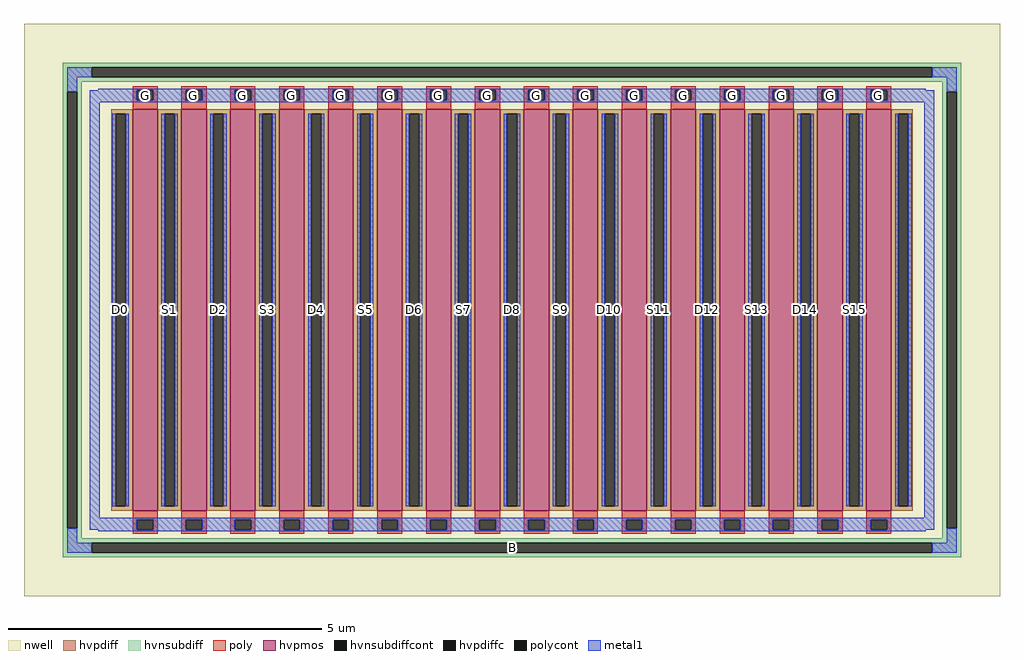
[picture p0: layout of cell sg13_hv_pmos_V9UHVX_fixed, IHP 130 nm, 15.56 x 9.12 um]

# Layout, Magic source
magic
tech ihp-sg13cmos5l
magscale 1 2
<< nwell >>
rect -1556 -912 1556 912
<< hvpmos >>
rect -1210 -640 -1130 640
rect -1054 -640 -974 640
rect -898 -640 -818 640
rect -742 -640 -662 640
rect -586 -640 -506 640
rect -430 -640 -350 640
rect -274 -640 -194 640
rect -118 -640 -38 640
rect 38 -640 118 640
rect 194 -640 274 640
rect 350 -640 430 640
rect 506 -640 586 640
rect 662 -640 742 640
rect 818 -640 898 640
rect 974 -640 1054 640
rect 1130 -640 1210 640
<< hvpdiff >>
rect -1278 626 -1210 640
rect -1278 -626 -1264 626
rect -1232 -626 -1210 626
rect -1278 -640 -1210 -626
rect -1130 626 -1054 640
rect -1130 -626 -1108 626
rect -1076 -626 -1054 626
rect -1130 -640 -1054 -626
rect -974 626 -898 640
rect -974 -626 -952 626
rect -920 -626 -898 626
rect -974 -640 -898 -626
rect -818 626 -742 640
rect -818 -626 -796 626
rect -764 -626 -742 626
rect -818 -640 -742 -626
rect -662 626 -586 640
rect -662 -626 -640 626
rect -608 -626 -586 626
rect -662 -640 -586 -626
rect -506 626 -430 640
rect -506 -626 -484 626
rect -452 -626 -430 626
rect -506 -640 -430 -626
rect -350 626 -274 640
rect -350 -626 -328 626
rect -296 -626 -274 626
rect -350 -640 -274 -626
rect -194 626 -118 640
rect -194 -626 -172 626
rect -140 -626 -118 626
rect -194 -640 -118 -626
rect -38 626 38 640
rect -38 -626 -16 626
rect 16 -626 38 626
rect -38 -640 38 -626
rect 118 626 194 640
rect 118 -626 140 626
rect 172 -626 194 626
rect 118 -640 194 -626
rect 274 626 350 640
rect 274 -626 296 626
rect 328 -626 350 626
rect 274 -640 350 -626
rect 430 626 506 640
rect 430 -626 452 626
rect 484 -626 506 626
rect 430 -640 506 -626
rect 586 626 662 640
rect 586 -626 608 626
rect 640 -626 662 626
rect 586 -640 662 -626
rect 742 626 818 640
rect 742 -626 764 626
rect 796 -626 818 626
rect 742 -640 818 -626
rect 898 626 974 640
rect 898 -626 920 626
rect 952 -626 974 626
rect 898 -640 974 -626
rect 1054 626 1130 640
rect 1054 -626 1076 626
rect 1108 -626 1130 626
rect 1054 -640 1130 -626
rect 1210 626 1278 640
rect 1210 -626 1232 626
rect 1264 -626 1278 626
rect 1210 -640 1278 -626
<< hvpdiffc >>
rect -1264 -626 -1232 626
rect -1108 -626 -1076 626
rect -952 -626 -920 626
rect -796 -626 -764 626
rect -640 -626 -608 626
rect -484 -626 -452 626
rect -328 -626 -296 626
rect -172 -626 -140 626
rect -16 -626 16 626
rect 140 -626 172 626
rect 296 -626 328 626
rect 452 -626 484 626
rect 608 -626 640 626
rect 764 -626 796 626
rect 920 -626 952 626
rect 1076 -626 1108 626
rect 1232 -626 1264 626
<< hvnsubdiff >>
rect -1432 774 1432 788
rect -1432 742 -1340 774
rect 1340 742 1432 774
rect -1432 728 1432 742
rect -1432 696 -1372 728
rect -1432 -696 -1418 696
rect -1386 -696 -1372 696
rect 1372 696 1432 728
rect -1432 -728 -1372 -696
rect 1372 -696 1386 696
rect 1418 -696 1432 696
rect 1372 -728 1432 -696
rect -1432 -742 1432 -728
rect -1432 -774 -1340 -742
rect 1340 -774 1432 -742
rect -1432 -788 1432 -774
<< hvnsubdiffcont >>
rect -1340 742 1340 774
rect -1418 -696 -1386 696
rect 1386 -696 1418 696
rect -1340 -774 1340 -742
<< poly >>
rect -1210 700 -1130 714
rect -1210 668 -1196 700
rect -1144 668 -1130 700
rect -1210 640 -1130 668
rect -1054 700 -974 714
rect -1054 668 -1040 700
rect -988 668 -974 700
rect -1054 640 -974 668
rect -898 700 -818 714
rect -898 668 -884 700
rect -832 668 -818 700
rect -898 640 -818 668
rect -742 700 -662 714
rect -742 668 -728 700
rect -676 668 -662 700
rect -742 640 -662 668
rect -586 700 -506 714
rect -586 668 -572 700
rect -520 668 -506 700
rect -586 640 -506 668
rect -430 700 -350 714
rect -430 668 -416 700
rect -364 668 -350 700
rect -430 640 -350 668
rect -274 700 -194 714
rect -274 668 -260 700
rect -208 668 -194 700
rect -274 640 -194 668
rect -118 700 -38 714
rect -118 668 -104 700
rect -52 668 -38 700
rect -118 640 -38 668
rect 38 700 118 714
rect 38 668 52 700
rect 104 668 118 700
rect 38 640 118 668
rect 194 700 274 714
rect 194 668 208 700
rect 260 668 274 700
rect 194 640 274 668
rect 350 700 430 714
rect 350 668 364 700
rect 416 668 430 700
rect 350 640 430 668
rect 506 700 586 714
rect 506 668 520 700
rect 572 668 586 700
rect 506 640 586 668
rect 662 700 742 714
rect 662 668 676 700
rect 728 668 742 700
rect 662 640 742 668
rect 818 700 898 714
rect 818 668 832 700
rect 884 668 898 700
rect 818 640 898 668
rect 974 700 1054 714
rect 974 668 988 700
rect 1040 668 1054 700
rect 974 640 1054 668
rect 1130 700 1210 714
rect 1130 668 1144 700
rect 1196 668 1210 700
rect 1130 640 1210 668
rect -1210 -668 -1130 -640
rect -1210 -700 -1196 -668
rect -1144 -700 -1130 -668
rect -1210 -714 -1130 -700
rect -1054 -668 -974 -640
rect -1054 -700 -1040 -668
rect -988 -700 -974 -668
rect -1054 -714 -974 -700
rect -898 -668 -818 -640
rect -898 -700 -884 -668
rect -832 -700 -818 -668
rect -898 -714 -818 -700
rect -742 -668 -662 -640
rect -742 -700 -728 -668
rect -676 -700 -662 -668
rect -742 -714 -662 -700
rect -586 -668 -506 -640
rect -586 -700 -572 -668
rect -520 -700 -506 -668
rect -586 -714 -506 -700
rect -430 -668 -350 -640
rect -430 -700 -416 -668
rect -364 -700 -350 -668
rect -430 -714 -350 -700
rect -274 -668 -194 -640
rect -274 -700 -260 -668
rect -208 -700 -194 -668
rect -274 -714 -194 -700
rect -118 -668 -38 -640
rect -118 -700 -104 -668
rect -52 -700 -38 -668
rect -118 -714 -38 -700
rect 38 -668 118 -640
rect 38 -700 52 -668
rect 104 -700 118 -668
rect 38 -714 118 -700
rect 194 -668 274 -640
rect 194 -700 208 -668
rect 260 -700 274 -668
rect 194 -714 274 -700
rect 350 -668 430 -640
rect 350 -700 364 -668
rect 416 -700 430 -668
rect 350 -714 430 -700
rect 506 -668 586 -640
rect 506 -700 520 -668
rect 572 -700 586 -668
rect 506 -714 586 -700
rect 662 -668 742 -640
rect 662 -700 676 -668
rect 728 -700 742 -668
rect 662 -714 742 -700
rect 818 -668 898 -640
rect 818 -700 832 -668
rect 884 -700 898 -668
rect 818 -714 898 -700
rect 974 -668 1054 -640
rect 974 -700 988 -668
rect 1040 -700 1054 -668
rect 974 -714 1054 -700
rect 1130 -668 1210 -640
rect 1130 -700 1144 -668
rect 1196 -700 1210 -668
rect 1130 -714 1210 -700
<< polycont >>
rect -1196 668 -1144 700
rect -1040 668 -988 700
rect -884 668 -832 700
rect -728 668 -676 700
rect -572 668 -520 700
rect -416 668 -364 700
rect -260 668 -208 700
rect -104 668 -52 700
rect 52 668 104 700
rect 208 668 260 700
rect 364 668 416 700
rect 520 668 572 700
rect 676 668 728 700
rect 832 668 884 700
rect 988 668 1040 700
rect 1144 668 1196 700
rect -1196 -700 -1144 -668
rect -1040 -700 -988 -668
rect -884 -700 -832 -668
rect -728 -700 -676 -668
rect -572 -700 -520 -668
rect -416 -700 -364 -668
rect -260 -700 -208 -668
rect -104 -700 -52 -668
rect 52 -700 104 -668
rect 208 -700 260 -668
rect 364 -700 416 -668
rect 520 -700 572 -668
rect 676 -700 728 -668
rect 832 -700 884 -668
rect 988 -700 1040 -668
rect 1144 -700 1196 -668
<< metal1 >>
rect -1418 742 -1340 774
rect 1340 742 1418 774
rect -1418 696 -1386 742
rect -1320 700 1320 705
rect -1418 -742 -1386 -696
rect -1346 668 -1196 700
rect -1144 668 -1040 700
rect -988 668 -884 700
rect -832 668 -728 700
rect -676 668 -572 700
rect -520 668 -416 700
rect -364 668 -260 700
rect -208 668 -104 700
rect -52 668 52 700
rect 104 668 208 700
rect 260 668 364 700
rect 416 668 520 700
rect 572 668 676 700
rect 728 668 832 700
rect 884 668 988 700
rect 1040 668 1144 700
rect 1196 668 1346 700
rect -1346 663 1346 668
rect -1346 -663 -1314 663
rect -1274 -626 -1264 626
rect -1232 -626 -1222 626
rect -1118 -626 -1108 626
rect -1076 -626 -1066 626
rect -962 -626 -952 626
rect -920 -626 -910 626
rect -806 -626 -796 626
rect -764 -626 -754 626
rect -650 -626 -640 626
rect -608 -626 -598 626
rect -494 -626 -484 626
rect -452 -626 -442 626
rect -338 -626 -328 626
rect -296 -626 -286 626
rect -182 -626 -172 626
rect -140 -626 -130 626
rect -26 -626 -16 626
rect 16 -626 26 626
rect 130 -626 140 626
rect 172 -626 182 626
rect 286 -626 296 626
rect 328 -626 338 626
rect 442 -626 452 626
rect 484 -626 494 626
rect 598 -626 608 626
rect 640 -626 650 626
rect 754 -626 764 626
rect 796 -626 806 626
rect 910 -626 920 626
rect 952 -626 962 626
rect 1066 -626 1076 626
rect 1108 -626 1118 626
rect 1222 -626 1232 626
rect 1264 -626 1274 626
rect 1314 -663 1346 663
rect -1346 -668 1346 -663
rect -1346 -700 -1196 -668
rect -1144 -700 -1040 -668
rect -988 -700 -884 -668
rect -832 -700 -728 -668
rect -676 -700 -572 -668
rect -520 -700 -416 -668
rect -364 -700 -260 -668
rect -208 -700 -104 -668
rect -52 -700 52 -668
rect 104 -700 208 -668
rect 260 -700 364 -668
rect 416 -700 520 -668
rect 572 -700 676 -668
rect 728 -700 832 -668
rect 884 -700 988 -668
rect 1040 -700 1144 -668
rect 1196 -700 1346 -668
rect 1386 696 1418 742
rect -1320 -705 1320 -700
rect 1386 -742 1418 -696
rect -1418 -774 -1340 -742
rect 1340 -774 1418 -742
<< labels >>
rlabel hvnsubdiffcont 0 -758 0 -758 0 B
port 1 nsew
rlabel hvpdiffc -1248 0 -1248 0 0 D0
port 2 nsew
rlabel polycont -1170 684 -1170 684 0 G
port 3 nsew
rlabel hvpdiffc -1092 0 -1092 0 0 S1
port 4 nsew
rlabel polycont -1014 684 -1014 684 0 G
port 3 nsew
rlabel hvpdiffc -936 0 -936 0 0 D2
port 5 nsew
rlabel polycont -858 684 -858 684 0 G
port 3 nsew
rlabel hvpdiffc -780 0 -780 0 0 S3
port 6 nsew
rlabel polycont -702 684 -702 684 0 G
port 3 nsew
rlabel hvpdiffc -624 0 -624 0 0 D4
port 7 nsew
rlabel polycont -546 684 -546 684 0 G
port 3 nsew
rlabel hvpdiffc -468 0 -468 0 0 S5
port 8 nsew
rlabel polycont -390 684 -390 684 0 G
port 3 nsew
rlabel hvpdiffc -312 0 -312 0 0 D6
port 9 nsew
rlabel polycont -234 684 -234 684 0 G
port 3 nsew
rlabel hvpdiffc -156 0 -156 0 0 S7
port 10 nsew
rlabel polycont -78 684 -78 684 0 G
port 3 nsew
rlabel hvpdiffc 0 0 0 0 0 D8
port 11 nsew
rlabel polycont 78 684 78 684 0 G
port 3 nsew
rlabel hvpdiffc 156 0 156 0 0 S9
port 12 nsew
rlabel polycont 234 684 234 684 0 G
port 3 nsew
rlabel hvpdiffc 312 0 312 0 0 D10
port 13 nsew
rlabel polycont 390 684 390 684 0 G
port 3 nsew
rlabel hvpdiffc 468 0 468 0 0 S11
port 14 nsew
rlabel polycont 546 684 546 684 0 G
port 3 nsew
rlabel hvpdiffc 624 0 624 0 0 D12
port 15 nsew
rlabel polycont 702 684 702 684 0 G
port 3 nsew
rlabel hvpdiffc 780 0 780 0 0 S13
port 16 nsew
rlabel polycont 858 684 858 684 0 G
port 3 nsew
rlabel hvpdiffc 936 0 936 0 0 D14
port 17 nsew
rlabel polycont 1014 684 1014 684 0 G
port 3 nsew
rlabel hvpdiffc 1092 0 1092 0 0 S15
port 18 nsew
rlabel polycont 1170 684 1170 684 0 G
port 3 nsew
<< properties >>
string FIXED_BBOX -1402 -758 1402 758
string gencell sg13_hv_pmos
string library sg13cmos5l
string parameters w 6.4 l 0.4 m 1 ng 16 diffcov 100 polycov 100 guard 1 glc 1 grc 1 gtc 1 gbc 1 tbcov 100 rlcov 100 topc 1 botc 1 poverlap 0 doverlap 1 lmin 0.4 wmin 0.15 class mosfet compatible {sg13_lv_pmos sg13_hv_pmos} full_metal 1 conn_gates 1 gate_ring 1 ccols 1 viasrc 0 viadrn 0 viagate 1 viagb 0 viagr 0 viagl 0 viagt 0 doports 1
<< end >>
